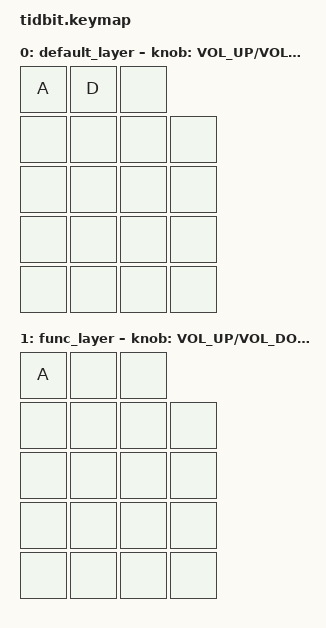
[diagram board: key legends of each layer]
/*
 * Copyright (c) 2020 The ZMK Contributors
 *
 * SPDX-License-Identifier: MIT
 */

#include <behaviors.dtsi>
#include <dt-bindings/zmk/keys.h>

&encoder_1_top_row { status = "okay"; };

/ {
    sensors: sensors {
        compatible = "zmk,keymap-sensors";
        sensors = <&encoder_1_top_row>;
        triggers-per-rotation = <20>;
    };

    keymap {
        compatible = "zmk,keymap";

        default_layer {
            bindings = <
&kp A  &kp D  &none
&none  &none  &none  &none
&none  &none  &none  &none
&none  &none  &none  &none
&none  &none  &none  &none
            >;

            sensor-bindings = <&inc_dec_kp C_VOLUME_UP C_VOLUME_DOWN>;
        };

        func_layer {
            bindings = <
&kp A  &none  &none
&none  &none  &none  &none
&none  &none  &none  &none
&none  &none  &none  &none
&none  &none  &none  &none
            >;

            sensor-bindings = <&inc_dec_kp C_VOLUME_UP C_VOLUME_DOWN>;
        };
    };
};
